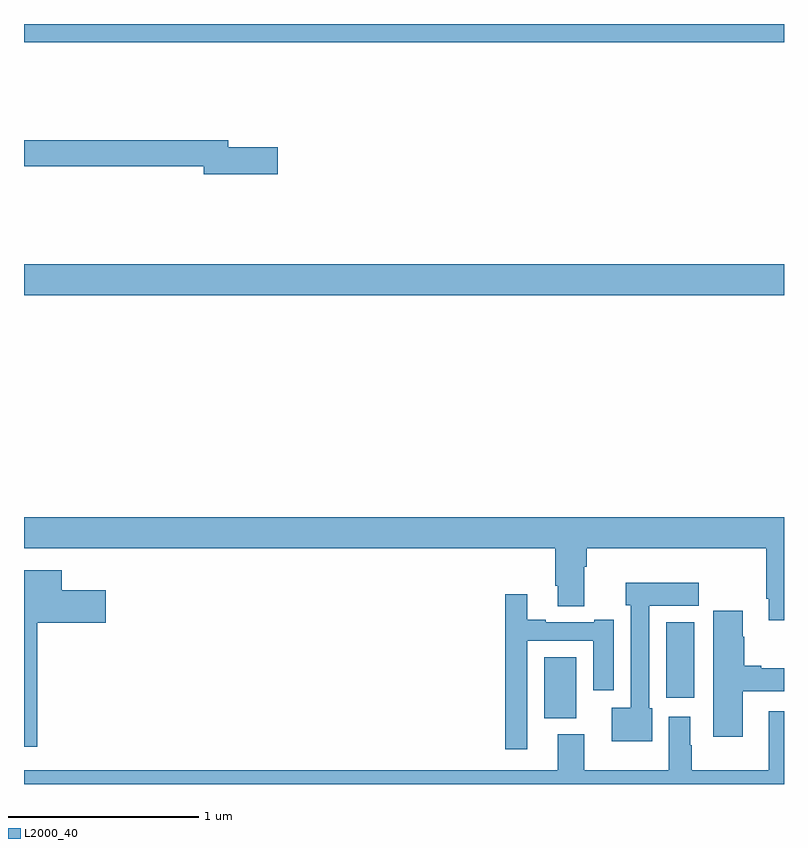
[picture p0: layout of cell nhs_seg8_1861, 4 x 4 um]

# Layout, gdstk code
import gdstk
lib = gdstk.Library(unit=1e-6, precision=1e-09)
def R(c, l, rs):  # rectangles x0, y0, x1, y1
    for r in rs: c.add(gdstk.rectangle(r[:2], r[2:], *l))
def P(c, l, *ps):  # polygons
    for p in ps: c.add(gdstk.Polygon(p, *l))
L2000_40 = (2000, 40)

nhs_seg8_1861 = lib.new_cell('nhs_seg8_1861')
R(nhs_seg8_1861, L2000_40, [(231.737,1142.246,231.907,1142.566), (232.379,1142.355,232.528,1142.752), (229,1144.472,233,1144.636), (229,1145.804,233,1145.9)])
P(nhs_seg8_1861, L2000_40, [(230.335,1145.252),(230.074,1145.252),(230.074,1145.288),(229,1145.288),(229,1145.152),(229.946,1145.152),(229.946,1145.11),(230.335,1145.11)],
  [(233,1143.304),(229,1143.304),(229,1143.14),(231.797,1143.14),(231.797,1142.944),(231.809,1142.944),(231.809,1142.836),(231.949,1142.836),(231.949,1143.044),(231.962,1143.044),(231.962,1143.14),(232.907,1143.14),(232.907,1142.875),(232.919,1142.875),(232.919,1142.763),(233,1142.763)],
  [(229.069,1142.75),(229.429,1142.75),(229.429,1142.92),(229.198,1142.92),(229.198,1143.025),(229,1143.025),(229,1142.097),(229.069,1142.097)],
  [(232.306,1142.298),(232.29,1142.298),(232.29,1142.837),(232.551,1142.837),(232.551,1142.959),(232.166,1142.959),(232.166,1142.841),(232.194,1142.841),(232.194,1142.302),(232.094,1142.302),(232.094,1142.126),(232.306,1142.126)],
  [(231.648,1142.655),(231.995,1142.655),(231.995,1142.394),(232.105,1142.394),(232.105,1142.764),(232.001,1142.764),(232.001,1142.751),(231.745,1142.751),(231.745,1142.764),(231.649,1142.764),(231.649,1142.899),(231.532,1142.899),(231.532,1142.082),(231.648,1142.082)],
  [(232.783,1142.387),(233,1142.387),(233,1142.509),(232.879,1142.509),(232.879,1142.522),(232.791,1142.522),(232.791,1142.675),(232.783,1142.675),(232.783,1142.812),(232.628,1142.812),(232.628,1142.148),(232.783,1142.148)],
  [(233,1142.284),(232.919,1142.284),(232.919,1141.972),(232.515,1141.972),(232.515,1142.105),(232.507,1142.105),(232.507,1142.254),(232.394,1142.254),(232.394,1141.972),(231.949,1141.972),(231.949,1142.161),(231.809,1142.161),(231.809,1141.972),(229,1141.972),(229,1141.9),(233,1141.9)])

lib.write_gds('nhs_seg8_1861.gds')
